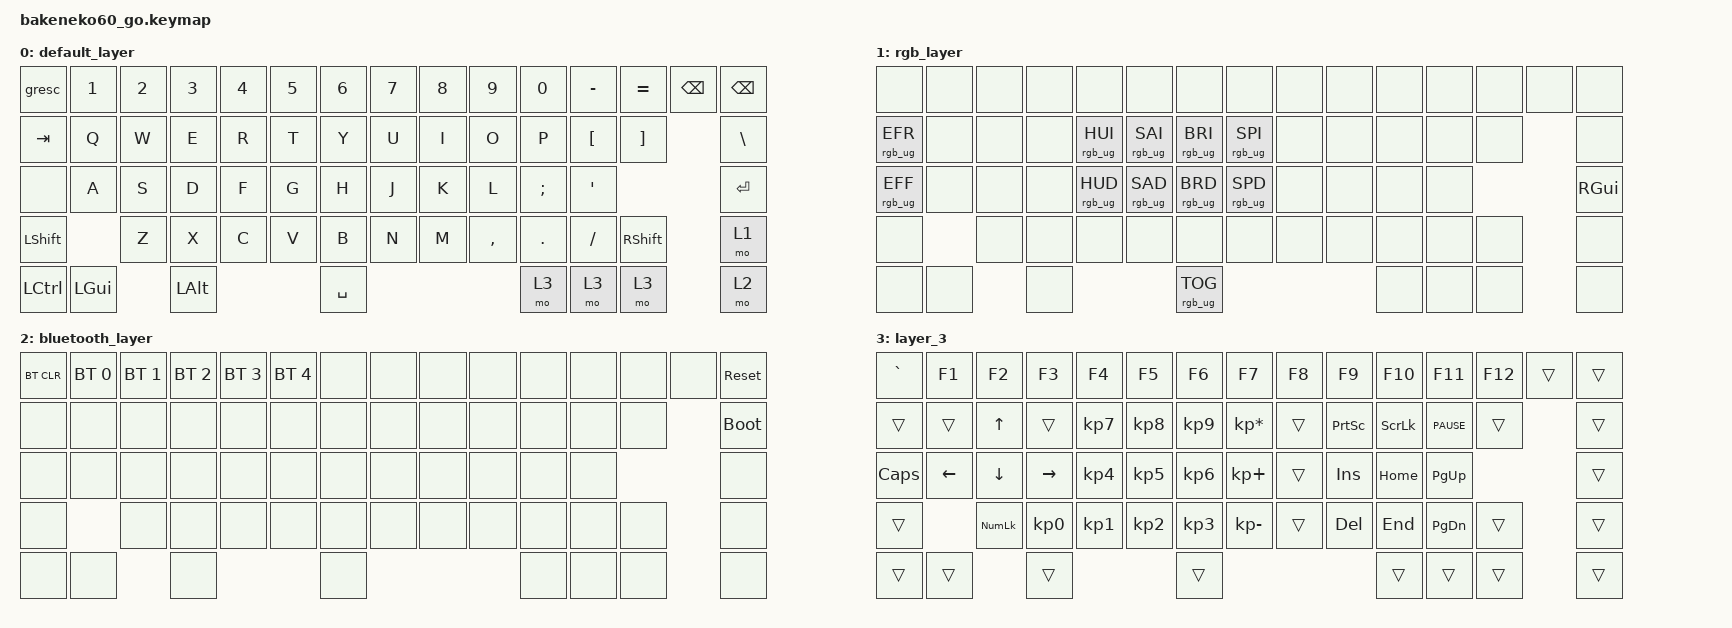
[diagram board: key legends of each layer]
/*
 * Copyright (c) 2023 Andrew Kannan
 *
 * SPDX-License-Identifier: MIT
 */

#include <behaviors.dtsi>
#include <dt-bindings/zmk/bt.h>
#include <dt-bindings/zmk/keys.h>
#include <dt-bindings/zmk/rgb.h>

/ {
    keymap {
        compatible = "zmk,keymap";

        default_layer {
            // ------------------------------------------------------------------------------------------
            // | ESC |  1  |  2  |  3  |  4  |  5  |  6  |  7  |  8  |  9  |  0  |  -  |  =  | BKSP|BKSP|
            // | TAB  |  Q  |  W  |  E  |  R  |  T  |  Y  |  U  |  I  |  O  |  P  |  [  |  ]  |   "|"   |
            // | CAPS  |  A  |  S  |  D  |  F  |  G  |  H  |  J  |  K  |  L  |  ;  |  '  |     ENTER    |
            // |  SHIFT  |  Z  |  X  |  C  |  V  |  B  |  N  |  M  |  ,  |  .  |  /  |  SHIFT  | MO(1)  |
            // |  CTL  |  WIN  |  ALT  |            SPACE              |  ALT  |  WIN  |  MO(1) |  CTL  |
            // ------------------------------------------------------------------------------------------

            bindings = <
&gresc     &kp N1    &kp N2  &kp N3    &kp N4  &kp N5  &kp N6     &kp N7  &kp N8  &kp N9     &kp N0    &kp MINUS  &kp EQUAL  &kp BSPC  &kp BSPC
&kp TAB    &kp Q     &kp W   &kp E     &kp R   &kp T   &kp Y      &kp U   &kp I   &kp O      &kp P     &kp LBKT   &kp RBKT             &kp BSLH
&none      &kp A     &kp S   &kp D     &kp F   &kp G   &kp H      &kp J   &kp K   &kp L      &kp SEMI  &kp SQT                         &kp RET
&kp LSHFT            &kp Z   &kp X     &kp C   &kp V   &kp B      &kp N   &kp M   &kp COMMA  &kp DOT   &kp FSLH   &kp RSHFT            &mo 1
&kp LCTRL  &kp LGUI          &kp LALT                  &kp SPACE                             &mo 3     &mo 3      &mo 3                &mo 2
            >;
        };

        rgb_layer {
            // ------------------------------------------------------------------------------------------------
            // |    `   | F1  | F2  | F3  | F4  | F5  | F6  | F7  | F8  | F9  | F10  | F11 | F12 |     | DEL  |
            // | EFCT REV|   |  UP |   | HUEUP | SATUP | BRIUP | SPDUP |      |  PGUP |    |     |    |       |
            // | EFCT FWD | LT |  DN  | RT | HUEDN | SATDN | BRIDN | SPDDN | HOME | PGDN | END  |  | BOOTLDR  |
            // |             |     |      |      |     |     |     |     |     |     |     |         |        |
            // |         |      |      |             TOG RGB                | PRT SCR |       |       |  MO(2)|
            // ------------------------------------------------------------------------------------------------

            bindings = <
&none            &none  &none  &none  &none            &none            &none            &none            &none  &none  &none  &none  &none  &none  &none
&rgb_ug RGB_EFR  &none  &none  &none  &rgb_ug RGB_HUI  &rgb_ug RGB_SAI  &rgb_ug RGB_BRI  &rgb_ug RGB_SPI  &none  &none  &none  &none  &none         &none
&rgb_ug RGB_EFF  &none  &none  &none  &rgb_ug RGB_HUD  &rgb_ug RGB_SAD  &rgb_ug RGB_BRD  &rgb_ug RGB_SPD  &none  &none  &none  &none                &kp RGUI
&none                   &none  &none  &none            &none            &none            &none            &none  &none  &none  &none  &none         &none
&none            &none         &none                                    &rgb_ug RGB_TOG                                 &none  &none  &none         &none
            >;
        };

        bluetooth_layer {
            // ------------------------------------------------------------------------------------------------
            // | BT CLR |     |     |     |     |     |     |     |     |     |     |    |    |       |       |
            // |  BT 1   |   |     |   |       |       |       |       |   |     |    |     |     |           |
            // |   BT 2   |    |      |    |       |       |       |       |      |      |      |  |   Reset  |
            // |    BT 3     |     |      |      |     |     |     |     |     |     |     |         |        |
            // |   BT 4  |      |      |                                    |         |       |       |       |
            // ------------------------------------------------------------------------------------------------

            bindings = <
&bt BT_CLR  &bt BT_SEL 0  &bt BT_SEL 1  &bt BT_SEL 2  &bt BT_SEL 3  &bt BT_SEL 4  &none  &none  &none  &none  &none  &none  &none  &none  &sys_reset
&none       &none         &none         &none         &none         &none         &none  &none  &none  &none  &none  &none  &none         &bootloader
&none       &none         &none         &none         &none         &none         &none  &none  &none  &none  &none  &none                &none
&none                     &none         &none         &none         &none         &none  &none  &none  &none  &none  &none  &none         &none
&none       &none                       &none                                     &none                       &none  &none  &none         &none
            >;
        };

        layer_3 {
            bindings = <
&kp GRAVE  &kp F1    &kp F2          &kp F3           &kp F4           &kp F5           &kp F6           &kp F7           &kp F8  &kp F9           &kp F10         &kp F11      &kp F12  &trans  &trans
&trans     &trans    &kp UP          &trans           &kp KP_NUMBER_7  &kp KP_NUMBER_8  &kp KP_NUMBER_9  &kp KP_ASTERISK  &trans  &kp PRINTSCREEN  &kp SCROLLLOCK  &kp C_PAUSE  &trans           &trans
&kp CAPS   &kp LEFT  &kp DOWN        &kp RIGHT        &kp KP_NUMBER_4  &kp KP_NUMBER_5  &kp KP_NUMBER_6  &kp KP_PLUS      &trans  &kp INS          &kp HOME        &kp PG_UP                     &trans
&trans               &kp KP_NUMLOCK  &kp KP_NUMBER_0  &kp KP_NUMBER_1  &kp KP_NUMBER_2  &kp KP_NUMBER_3  &kp KP_MINUS     &trans  &kp DEL          &kp END         &kp PG_DN    &trans           &trans
&trans     &trans                    &trans                                             &trans                                                     &trans          &trans       &trans           &trans
            >;
        };
    };

    combos {
        compatible = "zmk,combos";

        combo_bt {
            timeout-ms = <50>;
            key-positions = <61 62>;
            bindings = <&mo 2>;
        };
    };
};
